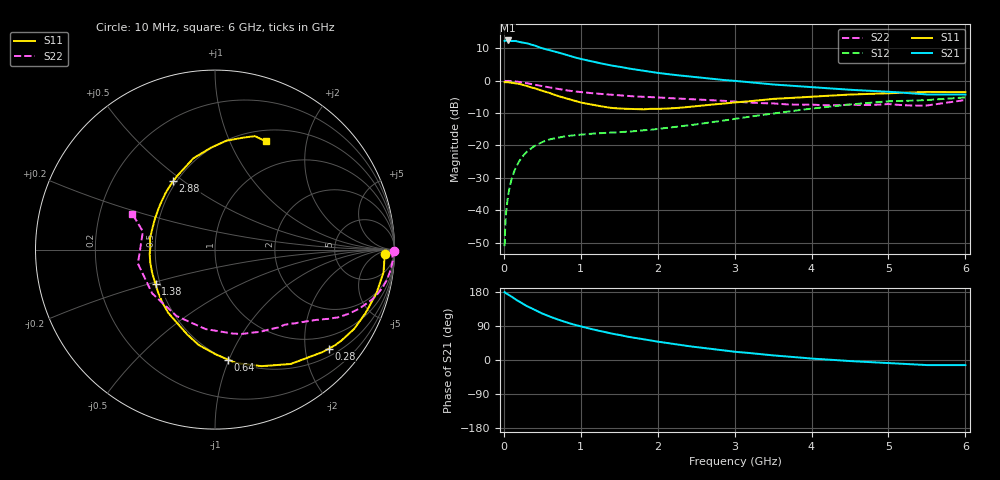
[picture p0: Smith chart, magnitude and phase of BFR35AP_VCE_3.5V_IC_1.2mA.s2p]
! Infineon Technologies  Discrete & RF Semiconductors
! BFR35AP
! VCE =  3.5 V,  IC =  1.2 mA
! Common Emitter S-Parameters:  Nov 2015
# GHz  S  MA  R  50
!  f  S11  S21  S12  S22
! GHz  MAG  ANG  MAG  ANG  MAG  ANG  MAG  ANG
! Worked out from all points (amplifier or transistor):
!   210 points, 10 MHz to 6 GHz, reference 50 ohm
!   highest |S21| = 12.4 dB at 50 MHz (marker M1)
!   |S21| within 3 dB of that: start of sweep to 595.9 MHz
!   unconditionally stable (mu >= 1): 1.368 GHz to 3.972 GHz; 5.121 GHz to end of sweep
!   at 185 MHz: K = 0.17, MSG = 18.8 dB, |S12| = -25.5 dB
!   at 1.52 GHz: K = 1.07, MAG = 8.5 dB, |S12| = -15.9 dB
!   at 6 GHz: K = 1.01, MAG = -0.3 dB, |S12| = -5.2 dB
!   S11 on the Smith chart (normalised r, x): 10 MHz: 30, -14; 280 MHz: 0.67, -2.52; 640 MHz: 0.50, -0.99; 1.38 GHz: 0.47, -0.21; 2.88 GHz: 0.48, +0.46; 6 GHz: 0.63, +1.37
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0.01  0.9465 -1.5  4.092 179.1  0.0028 90.3  0.9999 -0.6
0.015  0.9458 -2.2  4.128 178.1  0.0045 90.5  0.9933 -0.9
0.025  0.9452 -3.8  4.165 176.6  0.0077 88.5  0.9878 -1.6
0.05  0.9476 -7.6  4.171 173.6  0.0151 84.1  0.9935 -3.3
0.09  0.9336 -13.7  4.099 168.6  0.0269 81.4  0.9864 -5.9
0.15  0.9103 -22.8  4.102 160.0  0.044 76.0  0.9733 -9.9
0.28  0.8405 -41.0  3.801 144.5  0.0759 65.5  0.9235 -17.0
0.3  0.8272 -43.7  3.774 142.1  0.0803 64.3  0.9145 -18.0
0.4  0.7641 -56.5  3.487 132.4  0.0983 57.5  0.8668 -22.4
0.5  0.6994 -68.2  3.158 122.5  0.113 52.2  0.8225 -25.9
0.64  0.6169 -83.3  2.858 111.4  0.1275 46.3  0.7688 -29.6
0.8  0.5392 -99.7  2.525 100.0  0.1386 41.6  0.7136 -33.0
1.02  0.4553 -119.1  2.138 87.7  0.148 37.8  0.6634 -36.7
1.2  0.4162 -134.8  1.916 78.7  0.1537 36.0  0.6333 -39.6
1.38  0.3827 -150.0  1.73 70.7  0.1578 35.7  0.6095 -42.3
1.62  0.3668 -170.0  1.544 61.1  0.1639 36.9  0.5801 -45.8
2.02  0.3676 163.1  1.309 47.9  0.1811 39.7  0.5494 -52.9
2.88  0.446 121.5  1.019 24.9  0.2449 43.6  0.4871 -74.4
3.1  0.4712 114.1  0.968 20.1  0.2678 42.9  0.4677 -81.7
4.1  0.5757 90.5  0.78 2.6  0.382 35.0  0.421 -125.0
5.1  0.6451 75.5  0.664 -9.2  0.4839 20.0  0.426 -174.3
6  0.6662 65.0  0.61 -13.5  0.552 8.1  0.5032 156.5
